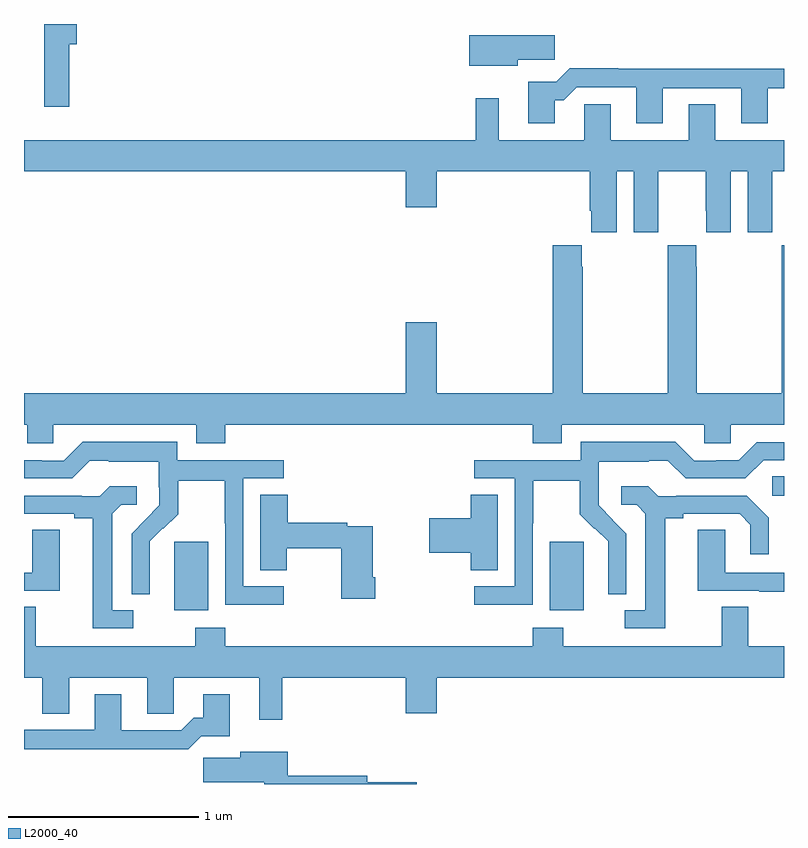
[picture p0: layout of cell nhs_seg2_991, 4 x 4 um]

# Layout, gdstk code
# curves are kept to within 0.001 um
import gdstk
lib = gdstk.Library(unit=1e-6, precision=1e-09)
def R(c, l, rs):  # rectangles x0, y0, x1, y1
    for r in rs: c.add(gdstk.rectangle(r[:2], r[2:], *l))
def P(c, l, *ps):  # polygons
    for p in ps: c.add(gdstk.Polygon(p, *l))
L2000_40 = (2000, 40)

nhs_seg2_991 = lib.new_cell('nhs_seg2_991')
R(nhs_seg2_991, L2000_40, [(163.79,590.714,163.969,591.075), (165.767,590.714,165.946,591.075), (166.938,591.318,167,591.419)])
P(nhs_seg2_991, L2000_40, [(163.238,593.693),(163.277,593.693),(163.277,593.8),(163.106,593.8),(163.106,593.364),(163.238,593.364)],
  [(165.598,593.611),(165.793,593.611),(165.793,593.74),(165.344,593.74),(165.344,593.579),(165.598,593.579)],
  [(165.793,593.399),(165.842,593.399),(165.909,593.466),(166.223,593.466),(166.223,593.277),(166.363,593.277),(166.363,593.463),(166.775,593.463),(166.775,593.277),(166.915,593.277),(166.915,593.463),(167,593.463),(167,593.564),(166.127,593.564),(166.127,593.567),(165.872,593.567),(165.802,593.497),(165.653,593.497),(165.653,593.277),(165.793,593.277)],
  [(166.12,593.024),(166.208,593.024),(166.208,592.704),(166.338,592.704),(166.338,592.816),(166.339,592.816),(166.339,593.024),(166.589,593.024),(166.589,592.816),(166.59,592.816),(166.59,592.704),(166.72,592.704),(166.72,593.024),(166.808,593.024),(166.808,592.704),(166.938,592.704),(166.938,592.816),(166.939,592.816),(166.939,593.024),(167,593.024),(167,593.188),(166.639,593.188),(166.639,593.378),(166.499,593.378),(166.499,593.188),(166.087,593.188),(166.087,593.378),(165.948,593.378),(165.948,593.188),(165.499,593.188),(165.499,593.41),(165.378,593.41),(165.378,593.188),(163,593.188),(163,593.024),(165.008,593.024),(165.008,592.836),(165.172,592.836),(165.172,593.024),(165.977,593.024),(165.977,592.816),(165.986,592.816),(165.986,592.704),(166.12,592.704)],
  [(164.06,591.692),(165.677,591.692),(165.677,591.593),(165.829,591.593),(165.829,591.692),(166.581,591.692),(166.581,591.594),(166.719,591.594),(166.719,591.692),(167,591.692),(167,592.636),(166.989,592.636),(166.989,592.523),(166.987,592.523),(166.987,591.856),(166.542,591.856),(166.542,592.523),(166.539,592.523),(166.539,592.636),(166.389,592.636),(166.389,592.523),(166.387,592.523),(166.387,591.856),(165.942,591.856),(165.942,592.523),(165.935,592.523),(165.935,592.636),(165.782,592.636),(165.782,591.856),(165.172,591.856),(165.172,592.231),(165.008,592.231),(165.008,591.856),(163,591.856),(163,591.692),(163.017,591.692),(163.017,591.594),(163.155,591.594),(163.155,591.692),(163.907,591.692),(163.907,591.593),(164.06,591.593)],
  [(165.678,591.172),(165.681,591.172),(165.681,591.396),(165.925,591.396),(165.925,591.221),(166.002,591.144),(166.005,591.147),(166.076,591.077),(166.076,590.954),(166.074,590.954),(166.074,590.8),(166.17,590.8),(166.17,591.118),(166.024,591.266),(166.024,591.363),(166.026,591.363),(166.026,591.497),(166.289,591.497),(166.289,591.501),(166.389,591.501),(166.482,591.408),(166.797,591.408),(166.893,591.504),(167,591.504),(167,591.6),(166.857,591.6),(166.761,591.504),(166.643,591.504),(166.643,591.501),(166.527,591.501),(166.427,591.601),(165.93,591.601),(165.93,591.504),(165.369,591.504),(165.369,591.408),(165.582,591.408),(165.582,590.841),(165.369,590.841),(165.369,590.743),(165.678,590.743)],
  [(164.368,590.841),(164.154,590.841),(164.154,591.408),(164.368,591.408),(164.368,591.504),(163.806,591.504),(163.806,591.601),(163.309,591.601),(163.209,591.501),(163.094,591.501),(163.094,591.504),(163,591.504),(163,591.408),(163.254,591.408),(163.347,591.501),(163.447,591.501),(163.447,591.497),(163.71,591.497),(163.71,591.363),(163.712,591.363),(163.712,591.266),(163.566,591.118),(163.566,590.8),(163.662,590.8),(163.661,591.077),(163.731,591.147),(163.734,591.144),(163.811,591.221),(163.811,591.396),(164.056,591.396),(164.056,591.172),(164.058,591.172),(164.058,590.743),(164.368,590.743)],
  [(166.375,591.2),(166.471,591.2),(166.471,591.222),(166.766,591.222),(166.823,591.165),(166.823,591.009),(166.92,591.009),(166.92,591.202),(166.804,591.318),(166.432,591.318),(166.432,591.315),(166.338,591.315),(166.286,591.367),(166.143,591.367),(166.143,591.27),(166.224,591.27),(166.271,591.223),(166.271,590.715),(166.161,590.715),(166.161,590.619),(166.375,590.619)],
  [(163.576,590.715),(163.465,590.715),(163.465,591.223),(163.512,591.27),(163.594,591.27),(163.594,591.367),(163.45,591.367),(163.398,591.315),(163.304,591.315),(163.304,591.318),(163,591.318),(163,591.222),(163.265,591.222),(163.265,591.2),(163.361,591.2),(163.361,590.619),(163.576,590.619)],
  [(165.493,591.323),(165.35,591.323),(165.35,591.2),(165.132,591.2),(165.132,591.017),(165.35,591.017),(165.35,590.926),(165.493,590.926)],
  [(164.849,590.887),(164.836,590.887),(164.836,591.156),(164.702,591.156),(164.702,591.176),(164.387,591.176),(164.387,591.323),(164.243,591.323),(164.243,590.926),(164.382,590.926),(164.382,591.04),(164.671,591.04),(164.671,590.775),(164.849,590.775)],
  [(167,590.913),(166.692,590.913),(166.692,591.137),(166.547,591.137),(166.547,590.817),(166.871,590.817),(166.871,590.813),(167,590.813)],
  [(163.189,591.137),(163.044,591.137),(163.044,590.913),(163,590.913),(163,590.817),(163.189,590.817)],
  [(164.359,590.36),(165.008,590.36),(165.008,590.172),(165.172,590.172),(165.172,590.36),(167,590.36),(167,590.524),(166.813,590.524),(166.813,590.732),(166.673,590.732),(166.673,590.524),(165.837,590.524),(165.837,590.623),(165.677,590.623),(165.677,590.524),(164.06,590.524),(164.06,590.623),(163.9,590.623),(163.9,590.524),(163.063,590.524),(163.063,590.732),(163,590.732),(163,590.36),(163.097,590.36),(163.097,590.17),(163.237,590.17),(163.237,590.36),(163.649,590.36),(163.649,590.17),(163.788,590.17),(163.788,590.36),(164.237,590.36),(164.237,590.139),(164.359,590.139)],
  [(163.934,590.051),(164.083,590.051),(164.083,590.272),(163.943,590.272),(163.943,590.149),(163.894,590.149),(163.827,590.082),(163.513,590.082),(163.513,590.272),(163.373,590.272),(163.373,590.085),(163,590.085),(163,589.984),(163.609,589.984),(163.609,589.982),(163.865,589.982)],
  [(165.067,589.808),(164.806,589.808),(164.806,589.844),(164.387,589.844),(164.387,589.969),(164.138,589.969),(164.138,589.937),(163.944,589.937),(163.944,589.808),(164.264,589.808),(164.264,589.8),(165.067,589.8)])

lib.write_gds('nhs_seg2_991.gds')
